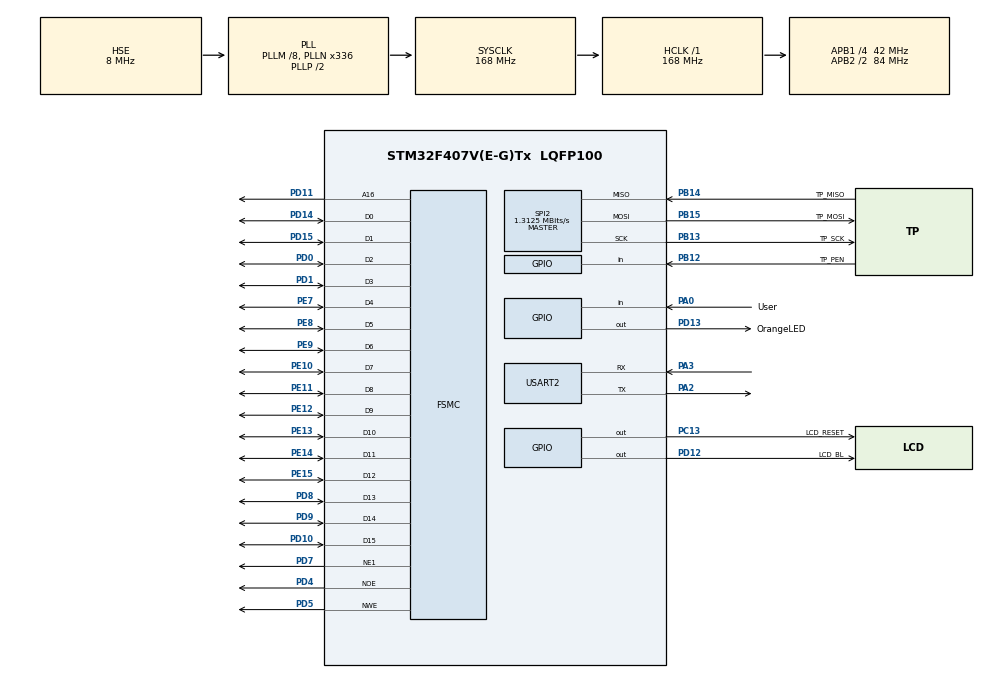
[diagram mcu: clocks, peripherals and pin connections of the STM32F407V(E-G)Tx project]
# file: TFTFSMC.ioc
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FSMC.AddressSetupTime1=15
FSMC.BusTurnAroundDuration1=15
FSMC.DataSetupTime1=30
FSMC.ExtendedAddressSetupTime1=5
FSMC.ExtendedBusTurnAroundDuration1=5
FSMC.ExtendedDataSetupTime1=5
FSMC.ExtendedMode1=FSMC_EXTENDED_MODE_ENABLE
Mcu.Family=STM32F4
Mcu.Name=STM32F407V(E-G)Tx
Mcu.Package=LQFP100
NVIC.PriorityGroup=NVIC_PRIORITYGROUP_4
NVIC.USART2_IRQn=true\:0\:0\:false\:false\:true\:true\:true
PA0-WKUP.GPIO_Label=User
PA0-WKUP.Signal=GPIO_Input
PA2.Mode=Asynchronous
PA2.Signal=USART2_TX
PA3.Mode=Asynchronous
PA3.Signal=USART2_RX
PB12.GPIO_Label=TP_PEN
PB12.Signal=GPIO_Input
PB13.GPIO_Label=TP_SCK
PB13.GPIO_Speed=GPIO_SPEED_FREQ_HIGH
PB13.Mode=Full_Duplex_Master
PB13.Signal=SPI2_SCK
PB14.GPIO_Label=TP_MISO
PB14.GPIO_Speed=GPIO_SPEED_FREQ_HIGH
PB14.Mode=Full_Duplex_Master
PB14.Signal=SPI2_MISO
PB15.GPIO_Label=TP_MOSI
PB15.GPIO_Speed=GPIO_SPEED_FREQ_HIGH
PB15.Mode=Full_Duplex_Master
PB15.Signal=SPI2_MOSI
PC13-ANTI_TAMP.GPIO_Label=LCD_RESET
PC13-ANTI_TAMP.Signal=GPIO_Output
PC14-OSC32_IN.Mode=LSE-External-Oscillator
PC14-OSC32_IN.Signal=RCC_OSC32_IN
PC15-OSC32_OUT.Mode=LSE-External-Oscillator
PC15-OSC32_OUT.Signal=RCC_OSC32_OUT
PD0.GPIO_Speed_High_Default=GPIO_SPEED_FREQ_HIGH
PD0.Mode=16b-d1
PD0.Signal=FSMC_D2
PD1.GPIO_Speed_High_Default=GPIO_SPEED_FREQ_HIGH
PD1.Mode=16b-d1
PD1.Signal=FSMC_D3
PD10.GPIO_Speed_High_Default=GPIO_SPEED_FREQ_HIGH
PD10.Mode=16b-d1
PD10.Signal=FSMC_D15
PD11.GPIO_Speed_High_Default=GPIO_SPEED_FREQ_HIGH
PD11.Mode=A16_1
PD11.Signal=FSMC_A16
PD12.GPIO_Label=LCD_BL
PD12.Signal=GPIO_Output
PD13.GPIO_Label=OrangeLED
PD13.Signal=GPIO_Output
PD14.GPIO_Speed_High_Default=GPIO_SPEED_FREQ_HIGH
PD14.Mode=16b-d1
PD14.Signal=FSMC_D0
PD15.GPIO_Speed_High_Default=GPIO_SPEED_FREQ_HIGH
PD15.Mode=16b-d1
PD15.Signal=FSMC_D1
PD4.GPIO_Speed_High_Default=GPIO_SPEED_FREQ_HIGH
PD4.Mode=Lcd1
PD4.Signal=FSMC_NOE
PD5.GPIO_Speed_High_Default=GPIO_SPEED_FREQ_HIGH
PD5.Mode=Lcd1
PD5.Signal=FSMC_NWE
PD7.GPIO_Speed_High_Default=GPIO_SPEED_FREQ_HIGH
PD7.Mode=NorPsramChipSelect1_1
PD7.Signal=FSMC_NE1
PD8.GPIO_Speed_High_Default=GPIO_SPEED_FREQ_HIGH
PD8.Mode=16b-d1
PD8.Signal=FSMC_D13
PD9.GPIO_Speed_High_Default=GPIO_SPEED_FREQ_HIGH
PD9.Mode=16b-d1
PD9.Signal=FSMC_D14
PE10.GPIO_Speed_High_Default=GPIO_SPEED_FREQ_HIGH
PE10.Mode=16b-d1
PE10.Signal=FSMC_D7
PE11.GPIO_Speed_High_Default=GPIO_SPEED_FREQ_HIGH
PE11.Mode=16b-d1
PE11.Signal=FSMC_D8
PE12.GPIO_Speed_High_Default=GPIO_SPEED_FREQ_HIGH
PE12.Mode=16b-d1
PE12.Signal=FSMC_D9
PE13.GPIO_Speed_High_Default=GPIO_SPEED_FREQ_HIGH
PE13.Mode=16b-d1
PE13.Signal=FSMC_D10
PE14.GPIO_Speed_High_Default=GPIO_SPEED_FREQ_HIGH
PE14.Mode=16b-d1
PE14.Signal=FSMC_D11
PE15.GPIO_Speed_High_Default=GPIO_SPEED_FREQ_HIGH
PE15.Mode=16b-d1
PE15.Signal=FSMC_D12
PE7.GPIO_Speed_High_Default=GPIO_SPEED_FREQ_HIGH
PE7.Mode=16b-d1
PE7.Signal=FSMC_D4
PE8.GPIO_Speed_High_Default=GPIO_SPEED_FREQ_HIGH
PE8.Mode=16b-d1
PE8.Signal=FSMC_D5
PE9.GPIO_Speed_High_Default=GPIO_SPEED_FREQ_HIGH
PE9.Mode=16b-d1
PE9.Signal=FSMC_D6
PH0-OSC_IN.Mode=HSE-External-Oscillator
PH0-OSC_IN.Signal=RCC_OSC_IN
PH1-OSC_OUT.Mode=HSE-External-Oscillator
PH1-OSC_OUT.Signal=RCC_OSC_OUT
ProjectManager.HeapSize=0x400
ProjectManager.StackSize=0x200
ProjectManager.TargetToolchain=STM32CubeIDE
RCC.48MHZClocksFreq_Value=48000000
RCC.AHBFreq_Value=168000000
RCC.APB1CLKDivider=RCC_HCLK_DIV4
RCC.APB1Freq_Value=42000000
RCC.APB1TimFreq_Value=84000000
RCC.APB2CLKDivider=RCC_HCLK_DIV2
RCC.APB2Freq_Value=84000000
RCC.APB2TimFreq_Value=168000000
RCC.CortexFreq_Value=168000000
RCC.HCLKFreq_Value=168000000
RCC.HSE_VALUE=8000000
RCC.HSI_VALUE=16000000
RCC.PLLM=8
RCC.PLLN=336
RCC.PLLQ=7
RCC.PLLSourceVirtual=RCC_PLLSOURCE_HSE
RCC.RCC_RTC_Clock_Source=RCC_RTCCLKSOURCE_LSE
RCC.RCC_RTC_Clock_SourceVirtual=RCC_RTCCLKSOURCE_LSE
RCC.SYSCLKFreq_VALUE=168000000
RCC.SYSCLKSource=RCC_SYSCLKSOURCE_PLLCLK
RCC.VCOOutputFreq_Value=336000000
SPI2.BaudRatePrescaler=SPI_BAUDRATEPRESCALER_32
SPI2.CLKPhase=SPI_PHASE_2EDGE
SPI2.CLKPolarity=SPI_POLARITY_HIGH
SPI2.CalculateBaudRate=1.3125 MBits/s
SPI2.Direction=SPI_DIRECTION_2LINES
SPI2.Mode=SPI_MODE_MASTER
SPI2.VirtualType=VM_MASTER
USART2.VirtualMode=VM_ASYNC
VP_CRC_VS_CRC.Mode=CRC_Activate
board=TFT2

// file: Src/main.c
/**
  ******************************************************************************
  * File Name          : main.c
  * Description        : Main program body
  ******************************************************************************
  *
  * COPYRIGHT(c) 2017 STMicroelectronics
  *
  * Redistribution and use in source and binary forms, with or without modification,
  * are permitted provided that the following conditions are met:
  *   1. Redistributions of source code must retain the above copyright notice,
  *      this list of conditions and the following disclaimer.
  *   2. Redistributions in binary form must reproduce the above copyright notice,
  *      this list of conditions and the following disclaimer in the documentation
  *      and/or other materials provided with the distribution.
  *   3. Neither the name of STMicroelectronics nor the names of its contributors
  *      may be used to endorse or promote products derived from this software
  *      without specific prior written permission.
  *
  * THIS SOFTWARE IS PROVIDED BY THE COPYRIGHT HOLDERS AND CONTRIBUTORS "AS IS"
  * AND ANY EXPRESS OR IMPLIED WARRANTIES, INCLUDING, BUT NOT LIMITED TO, THE
  * IMPLIED WARRANTIES OF MERCHANTABILITY AND FITNESS FOR A PARTICULAR PURPOSE ARE
  * DISCLAIMED. IN NO EVENT SHALL THE COPYRIGHT HOLDER OR CONTRIBUTORS BE LIABLE
  * FOR ANY DIRECT, INDIRECT, INCIDENTAL, SPECIAL, EXEMPLARY, OR CONSEQUENTIAL
  * DAMAGES (INCLUDING, BUT NOT LIMITED TO, PROCUREMENT OF SUBSTITUTE GOODS OR
  * SERVICES; LOSS OF USE, DATA, OR PROFITS; OR BUSINESS INTERRUPTION) HOWEVER
  * CAUSED AND ON ANY THEORY OF LIABILITY, WHETHER IN CONTRACT, STRICT LIABILITY,
  * OR TORT (INCLUDING NEGLIGENCE OR OTHERWISE) ARISING IN ANY WAY OUT OF THE USE
  * OF THIS SOFTWARE, EVEN IF ADVISED OF THE POSSIBILITY OF SUCH DAMAGE.
  *
  ******************************************************************************
  */
#include "main.h"
#include "stm32f4xx_hal.h"

/* USER CODE BEGIN Includes */
#include "LCD_STM32F4.h"
#include "GUI.h"
#include "DIALOG.h"
#include <stdio.h>
#include "ts.h"
#include <stdlib.h> //random
#include <stdbool.h>
#include "LCDConf.h"
/* USER CODE END Includes */

CRC_HandleTypeDef hcrc;

SPI_HandleTypeDef hspi2;

UART_HandleTypeDef huart2;

SRAM_HandleTypeDef hsram1;

/* USER CODE BEGIN PV */
/* Private variables ---------------------------------------------------------*/
extern GUI_PID_STATE pstate;

GUI_CONST_STORAGE GUI_BITMAP bmlemmling_Cartoon_penguin_small;
GUI_CONST_STORAGE GUI_BITMAP bmledCircleOrange;
GUI_HSPRITE hSprite;

bool Right=true;
bool Down=true;

int xAccel=1;
int yAccel=1;

#ifdef ILI9341
#define TFTX 320
#define TFTY 240

#elif defined ILI9481
#define TFTX 480
#define TFTY 320

#elif defined SSD1963
#define TFTX 800
#define TFTY 480

#else
#define TFTX 320
#define TFTY 240

#endif
/* USER CODE END PV */

void SystemClock_Config(void);
void Error_Handler(void);
static void MX_GPIO_Init(void);
static void MX_FSMC_Init(void);
static void MX_CRC_Init(void);
static void MX_SPI2_Init(void);
static void MX_USART2_UART_Init(void);

/* USER CODE BEGIN PFP */
/* Private function prototypes -----------------------------------------------*/

/* USER CODE END PFP */

int main(void)
{

  /* USER CODE BEGIN 1 */
	int count = 0;
	char countString[10];
	int xpos=0;
	int ypos=0;

	PROGBAR_Handle hProgbar;
	BUTTON_Handle hButton;

  /* USER CODE END 1 */

  /* MCU Configuration----------------------------------------------------------*/

  /* Reset of all peripherals, Initializes the Flash interface and the Systick. */
  HAL_Init();

  /* Configure the system clock */
  SystemClock_Config();

  /* Initialize all configured peripherals */
  MX_GPIO_Init();
  MX_FSMC_Init();
  MX_CRC_Init();
  MX_SPI2_Init();
  MX_USART2_UART_Init();

  HAL_GPIO_WritePin(LCD_BL_GPIO_Port, LCD_BL_Pin, GPIO_PIN_RESET);

  /* USER CODE BEGIN 2 */
	GUI_Init();

	GUI_SetFont(&GUI_Font8x16);
	GUI_SetBkColor(GUI_BLUE);
	GUI_Clear();

	GUI_SetColor(GUI_CYAN);			//foreground or text color
	GUI_DispString("ECET260 Test Program\tStemwin ver: ");

	GUI_DispString(GUI_GetVersionString());
	GUI_DispString("\n\n\n");

	GUI_SetFont(&GUI_Font32B_ASCII);
	GUI_SetColor(GUI_WHITE);		//foreground or text color

#ifdef ILI9481
	GUI_DispStringHCenterAt("ECET260", 240, 50);

	GUI_DrawGradientH(15, 220, 465, 300, 0x0000FF, 0x00FFFF);

	PROGBAR_SetDefaultSkin(PROGBAR_SKIN_FLEX); // Sets the default skin for new widgets

/* Create progress bar at location x = 10, y = 10, length = 219, height = 30 */
	hProgbar = PROGBAR_CreateEx(50, 235, 385, 50, 0, WM_CF_SHOW, 0, GUI_ID_PROGBAR0);

	// Create the button
	hButton = BUTTON_CreateEx(200, 120, 80, 60, 0, WM_CF_SHOW, 0, GUI_ID_BUTTON0);

	//display ID code for TFT
	uint16_t regTemp[6];

	GUI_SetFont(&GUI_Font16B_ASCII);
	GUI_SetColor(GUI_YELLOW);

	LcdWriteReg(0xbf);
	HAL_SRAM_Read_16b(&hsram1, LCD_CMD, &regTemp, 6);
	GUI_DispHexAt(regTemp[3], 10, 20, 2);
	GUI_DispHex(regTemp[4], 2);

#endif

#ifdef ILI9341
	GUI_DispStringHCenterAt("ECET260", 160, 50);

	GUI_DrawGradientH(5, 150, 315, 235, 0x0000FF, 0x00FFFF);

	/* Create progress bar at location x = 10, y = 10, length = 219, height = 30 */
	hProgbar = PROGBAR_CreateEx(50, 180, 219, 30, 0, WM_CF_SHOW, 0, GUI_ID_PROGBAR0);

	// Create the button
	hButton = BUTTON_CreateEx(120, 100, 80, 60, 0, WM_CF_SHOW, 0, GUI_ID_BUTTON0);

	//display ID code for TFT
	uint16_t regTemp[6];

	GUI_SetFont(&GUI_Font16B_ASCII);
	GUI_SetColor(GUI_YELLOW);

	LcdWriteReg(0xd3);
	HAL_SRAM_Read_16b(&hsram1, LCD_CMD, &regTemp, 4);
	GUI_DispHexAt(regTemp[2], 10, 20, 2);
	GUI_DispHex(regTemp[2], 2);

	GUI_Exec();

#endif

#ifdef	SSD1963
	GUI_SetFont(&GUI_FontD60x80);

	GUI_DrawGradientH(15, 300, 785, 450, 0x0000FF, 0x00FFFF);

	/* Create progress bar at location x = 50, y = 325, length = 700, height = 100 */
	hProgbar = PROGBAR_CreateEx(50, 325, 700, 100, 0, WM_CF_SHOW, 0, GUI_ID_PROGBAR0);

	// Create the button
	hButton = BUTTON_CreateEx(380, 200, 80, 60, 0, WM_CF_SHOW, 0, GUI_ID_BUTTON0);

	//display ID code for SSD1963 TFT
	uint16_t regTemp[6];

	GUI_SetFont(&GUI_Font16B_ASCII);
	GUI_SetColor(GUI_YELLOW);

	LcdWriteReg(0xa1);
	HAL_SRAM_Read_16b(&hsram1, LCD_CMD, &regTemp, 5);
	GUI_DispHexAt(regTemp[0], 10, 20, 2);	//0x01
	GUI_DispHex(regTemp[1], 2);				//0x57
	GUI_DispHex(regTemp[2], 2);				//0x61
	GUI_DispHex(regTemp[3], 2);				//0x01
	GUI_DispHex(regTemp[4], 2);				//0xff

#endif

#ifdef SSD1289
	GUI_DispStringHCenterAt("ECET260", 160, 50);

	GUI_DrawGradientH(5, 150, 315, 235, 0x0000FF, 0x00FFFF);

	/* Create progress bar at location x = 10, y = 10, length = 219, height = 30 */
	hProgbar = PROGBAR_CreateEx(50, 180, 219, 30, 0, WM_CF_SHOW, 0, GUI_ID_PROGBAR0);

	// Create the button
	hButton = BUTTON_CreateEx(120, 100, 80, 60, 0, WM_CF_SHOW, 0, GUI_ID_BUTTON0);

	//display ID code for TFT
	uint16_t regTemp[6];

	GUI_SetFont(&GUI_Font16B_ASCII);
	GUI_SetColor(GUI_YELLOW);

	LcdWriteReg(0x00);
	HAL_SRAM_Read_16b(&hsram1, LCD_CMD, regTemp, 1);
	GUI_DispHexAt(regTemp[0], 10, 20, 4);

#endif

	PROGBAR_SetDefaultSkin(PROGBAR_SKIN_FLEX); // Sets the default skin for new widgets

	/* Set progress bar font */
	PROGBAR_SetFont(hProgbar, &GUI_Font8x16);

	PROGBAR_SetMinMax(hProgbar, 0, 99);

	/* Set progress bar text */
	PROGBAR_SetText(hProgbar, "...");

	BUTTON_SetFont(hButton, &GUI_Font8x16);
	// Set the button text
	BUTTON_SetText(hButton, "Test");

	GUI_Exec();

	hSprite = GUI_SPRITE_Create(&bmlemmling_Cartoon_penguin_small, xpos,ypos);
//	hSprite = GUI_SPRITE_Create(&bmledCircleOrange, 50,50);

	srand(uwTick); //init random number generator with systick
  /* USER CODE END 2 */

  /* Infinite loop */
  /* USER CODE BEGIN WHILE */
  while (1)
  {

	  GUI_PID_GetCurrentState(&pstate);
//	  GUI_TOUCH_GetState(&pstate);  /* Get the touch position in pixel */
//	  GUI_TOUCH_Exec(); //call each time through to get new touchscreen input

	  GUI_SetFont(&GUI_Font8x16);

#ifdef ILI9481

		if (pstate.Pressed) {
			GUI_DispDecAt( pstate.x, 440,20,4);
			GUI_DispDecAt( pstate.y, 440,40,4);
			GUI_DispStringAt("-P-", 440,60);

		}
		else {
			GUI_DispDecAt( 0, 440,20,4);
			GUI_DispDecAt( 0, 440,40,4);
			GUI_DispStringAt("- -", 440,60);
		}

#elif SSD1963

		if (pstate.Pressed) {
			GUI_DispDecAt( pstate.x, 760,20,4);
			GUI_DispDecAt( pstate.y, 760,40,4);
			GUI_DispStringAt("-P-", 760,60);

		}
		else {
			GUI_DispDecAt( 0, 760,20,4);
			GUI_DispDecAt( 0, 760,40,4);
			GUI_DispStringAt("- -", 760,60);
		}

#else

	 		if (pstate.Pressed) {
	 			GUI_DispDecAt( pstate.x, 280,20,4);
	 			GUI_DispDecAt( pstate.y, 280,40,4);
	 			GUI_DispStringAt("-P-", 280,60);

	 		}
	 		else {
	 			GUI_DispDecAt( 0, 280,20,4);
	 			GUI_DispDecAt( 0, 280,40,4);
	 			GUI_DispStringAt("- -", 280,60);
	 		}
#endif
	 		if(BUTTON_IsPressed(hButton))
	 		{
	 			count++;
	 			count%=100;
	 			sprintf(countString, "%d", count);

	 			PROGBAR_SetValue(hProgbar, count);			//use dec value for bar position
	 		 	PROGBAR_SetText(hProgbar, countString); 	//use string for text on progress bar

	 		}

//Move sprite around the screen
//	 		if(Right){				//move in x direction
//	 			xpos+=xAccel;
//	 		}
//	 		else{
//	 			xpos-=xAccel;
//	 		}
	 		Right ? (xpos+=xAccel) : (xpos-=xAccel); //move in x direction
	 		if (xpos>TFTX-60){		//check for right edge
	 			Right=false;
	 			xAccel=rand()%6;
	 		}
	 		if (xpos<0){			//check for left edge
	 			Right=true;
	 			xAccel=rand()%6;
	 		}

	 		Down ? ypos++: ypos--;	//move in y direction
	 		if (ypos>TFTY-60){		//check bottom edge
	 			Down=false;
	 			yAccel=rand()%6;
	 		}
	 		if (ypos<0){			//check top edge
	 			Down=true;
	 			yAccel=rand()%6;
	 		}

	 		GUI_SPRITE_SetPosition(hSprite, xpos, ypos);
//end of move sprite code

	 		GUI_Delay(20);
  /* USER CODE END WHILE */

  }

}

/** System Clock Configuration
*/
void SystemClock_Config(void)
{

  RCC_OscInitTypeDef RCC_OscInitStruct;
  RCC_ClkInitTypeDef RCC_ClkInitStruct;

    /**Configure the main internal regulator output voltage
    */
  __HAL_RCC_PWR_CLK_ENABLE();

  __HAL_PWR_VOLTAGESCALING_CONFIG(PWR_REGULATOR_VOLTAGE_SCALE1);

    /**Initializes the CPU, AHB and APB busses clocks
    */
  RCC_OscInitStruct.OscillatorType = RCC_OSCILLATORTYPE_HSE;
  RCC_OscInitStruct.HSEState = RCC_HSE_ON;
  RCC_OscInitStruct.PLL.PLLState = RCC_PLL_ON;
  RCC_OscInitStruct.PLL.PLLSource = RCC_PLLSOURCE_HSE;
  RCC_OscInitStruct.PLL.PLLM = 8;
  RCC_OscInitStruct.PLL.PLLN = 336;
  RCC_OscInitStruct.PLL.PLLP = RCC_PLLP_DIV2;
  RCC_OscInitStruct.PLL.PLLQ = 7;
  if (HAL_RCC_OscConfig(&RCC_OscInitStruct) != HAL_OK)
  {
    Error_Handler();
  }

    /**Initializes the CPU, AHB and APB busses clocks
    */
  RCC_ClkInitStruct.ClockType = RCC_CLOCKTYPE_HCLK|RCC_CLOCKTYPE_SYSCLK
                              |RCC_CLOCKTYPE_PCLK1|RCC_CLOCKTYPE_PCLK2;
  RCC_ClkInitStruct.SYSCLKSource = RCC_SYSCLKSOURCE_PLLCLK;
  RCC_ClkInitStruct.AHBCLKDivider = RCC_SYSCLK_DIV1;
  RCC_ClkInitStruct.APB1CLKDivider = RCC_HCLK_DIV4;
  RCC_ClkInitStruct.APB2CLKDivider = RCC_HCLK_DIV2;

  if (HAL_RCC_ClockConfig(&RCC_ClkInitStruct, FLASH_LATENCY_5) != HAL_OK)
  {
    Error_Handler();
  }

    /**Configure the Systick interrupt time
    */
  HAL_SYSTICK_Config(HAL_RCC_GetHCLKFreq()/1000);

    /**Configure the Systick
    */
  HAL_SYSTICK_CLKSourceConfig(SYSTICK_CLKSOURCE_HCLK);

  /* SysTick_IRQn interrupt configuration */
  HAL_NVIC_SetPriority(SysTick_IRQn, 0, 0);
}

/* CRC init function */
static void MX_CRC_Init(void)
{

  hcrc.Instance = CRC;
  if (HAL_CRC_Init(&hcrc) != HAL_OK)
  {
    Error_Handler();
  }

}

/* SPI2 init function */
static void MX_SPI2_Init(void)
{

  hspi2.Instance = SPI2;
  hspi2.Init.Mode = SPI_MODE_MASTER;
  hspi2.Init.Direction = SPI_DIRECTION_2LINES;
  hspi2.Init.DataSize = SPI_DATASIZE_8BIT;
  hspi2.Init.CLKPolarity = SPI_POLARITY_HIGH;
  hspi2.Init.CLKPhase = SPI_PHASE_2EDGE;
  hspi2.Init.NSS = SPI_NSS_SOFT;
  hspi2.Init.BaudRatePrescaler = SPI_BAUDRATEPRESCALER_32;
  hspi2.Init.FirstBit = SPI_FIRSTBIT_MSB;
  hspi2.Init.TIMode = SPI_TIMODE_DISABLE;
  hspi2.Init.CRCCalculation = SPI_CRCCALCULATION_DISABLE;
  hspi2.Init.CRCPolynomial = 10;
  if (HAL_SPI_Init(&hspi2) != HAL_OK)
  {
    Error_Handler();
  }

}

/* USART2 init function */
static void MX_USART2_UART_Init(void)
{

  huart2.Instance = USART2;
  huart2.Init.BaudRate = 115200;
  huart2.Init.WordLength = UART_WORDLENGTH_8B;
  huart2.Init.StopBits = UART_STOPBITS_1;
  huart2.Init.Parity = UART_PARITY_NONE;
  huart2.Init.Mode = UART_MODE_TX_RX;
  huart2.Init.HwFlowCtl = UART_HWCONTROL_NONE;
  huart2.Init.OverSampling = UART_OVERSAMPLING_16;
  if (HAL_UART_Init(&huart2) != HAL_OK)
  {
    Error_Handler();
  }

}

/** Configure pins as
        * Analog
        * Input
        * Output
        * EVENT_OUT
        * EXTI
*/
static void MX_GPIO_Init(void)
{

  GPIO_InitTypeDef GPIO_InitStruct;

  /* GPIO Ports Clock Enable */
  __HAL_RCC_GPIOC_CLK_ENABLE();
  __HAL_RCC_GPIOH_CLK_ENABLE();
  __HAL_RCC_GPIOA_CLK_ENABLE();
  __HAL_RCC_GPIOE_CLK_ENABLE();
  __HAL_RCC_GPIOB_CLK_ENABLE();
  __HAL_RCC_GPIOD_CLK_ENABLE();

  /*Configure GPIO pin Output Level */
  HAL_GPIO_WritePin(LCD_RESET_GPIO_Port, LCD_RESET_Pin, GPIO_PIN_RESET);

  /*Configure GPIO pin Output Level */
  HAL_GPIO_WritePin(GPIOD, LCD_BL_Pin|OrangeLED_Pin, GPIO_PIN_RESET);

  /*Configure GPIO pin : LCD_RESET_Pin */
  GPIO_InitStruct.Pin = LCD_RESET_Pin;
  GPIO_InitStruct.Mode = GPIO_MODE_OUTPUT_PP;
  GPIO_InitStruct.Pull = GPIO_NOPULL;
  GPIO_InitStruct.Speed = GPIO_SPEED_FREQ_LOW;
  HAL_GPIO_Init(LCD_RESET_GPIO_Port, &GPIO_InitStruct);

  /*Configure GPIO pin : User_Pin */
  GPIO_InitStruct.Pin = User_Pin;
  GPIO_InitStruct.Mode = GPIO_MODE_INPUT;
  GPIO_InitStruct.Pull = GPIO_NOPULL;
  HAL_GPIO_Init(User_GPIO_Port, &GPIO_InitStruct);

  /*Configure GPIO pin : TP_PEN_Pin */
  GPIO_InitStruct.Pin = TP_PEN_Pin;
  GPIO_InitStruct.Mode = GPIO_MODE_INPUT;
  GPIO_InitStruct.Pull = GPIO_NOPULL;
  HAL_GPIO_Init(TP_PEN_GPIO_Port, &GPIO_InitStruct);

  /*Configure GPIO pins : LCD_BL_Pin OrangeLED_Pin */
  GPIO_InitStruct.Pin = LCD_BL_Pin|OrangeLED_Pin;
  GPIO_InitStruct.Mode = GPIO_MODE_OUTPUT_PP;
  GPIO_InitStruct.Pull = GPIO_NOPULL;
  GPIO_InitStruct.Speed = GPIO_SPEED_FREQ_LOW;
  HAL_GPIO_Init(GPIOD, &GPIO_InitStruct);

}

/* FSMC initialization function */
static void MX_FSMC_Init(void)
{
  FSMC_NORSRAM_TimingTypeDef Timing;
  FSMC_NORSRAM_TimingTypeDef ExtTiming;

  /** Perform the SRAM1 memory initialization sequence
  */
  hsram1.Instance = FSMC_NORSRAM_DEVICE;
  hsram1.Extended = FSMC_NORSRAM_EXTENDED_DEVICE;
  /* hsram1.Init */
  hsram1.Init.NSBank = FSMC_NORSRAM_BANK1;
  hsram1.Init.DataAddressMux = FSMC_DATA_ADDRESS_MUX_DISABLE;
  hsram1.Init.MemoryType = FSMC_MEMORY_TYPE_SRAM;
  hsram1.Init.MemoryDataWidth = FSMC_NORSRAM_MEM_BUS_WIDTH_16;
  hsram1.Init.BurstAccessMode = FSMC_BURST_ACCESS_MODE_DISABLE;
  hsram1.Init.WaitSignalPolarity = FSMC_WAIT_SIGNAL_POLARITY_LOW;
  hsram1.Init.WrapMode = FSMC_WRAP_MODE_DISABLE;
  hsram1.Init.WaitSignalActive = FSMC_WAIT_TIMING_BEFORE_WS;
  hsram1.Init.WriteOperation = FSMC_WRITE_OPERATION_ENABLE;
  hsram1.Init.WaitSignal = FSMC_WAIT_SIGNAL_DISABLE;
  hsram1.Init.ExtendedMode = FSMC_EXTENDED_MODE_ENABLE;
  hsram1.Init.AsynchronousWait = FSMC_ASYNCHRONOUS_WAIT_DISABLE;
  hsram1.Init.WriteBurst = FSMC_WRITE_BURST_DISABLE;
  hsram1.Init.PageSize = FSMC_PAGE_SIZE_NONE;
  /* Timing */
  Timing.AddressSetupTime = 15;
  Timing.AddressHoldTime = 15;
  Timing.DataSetupTime = 30;
  Timing.BusTurnAroundDuration = 15;
  Timing.CLKDivision = 16;
  Timing.DataLatency = 17;
  Timing.AccessMode = FSMC_ACCESS_MODE_A;
  /* ExtTiming */
  ExtTiming.AddressSetupTime = 5;
  ExtTiming.AddressHoldTime = 15;
  ExtTiming.DataSetupTime = 5;
  ExtTiming.BusTurnAroundDuration = 5;
  ExtTiming.CLKDivision = 16;
  ExtTiming.DataLatency = 17;
  ExtTiming.AccessMode = FSMC_ACCESS_MODE_A;

  if (HAL_SRAM_Init(&hsram1, &Timing, &ExtTiming) != HAL_OK)
  {
    Error_Handler();
  }

}

void Error_Handler(void)
{
  while(1)
  {
  }
}

/************************ (C) COPYRIGHT STMicroelectronics *****END OF FILE****/
